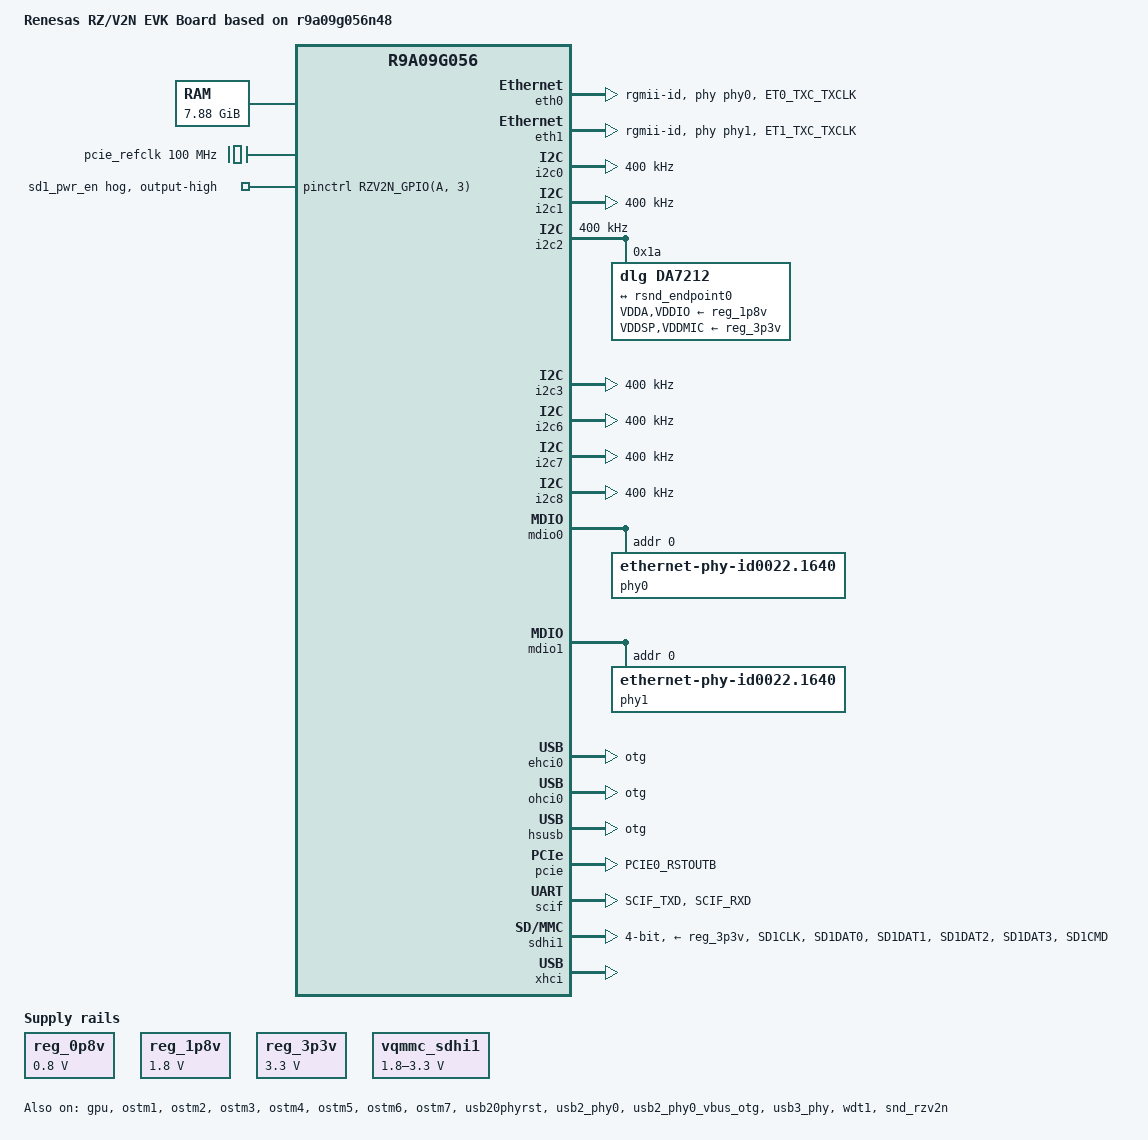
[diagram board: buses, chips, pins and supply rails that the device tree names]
// SPDX-License-Identifier: (GPL-2.0-only OR BSD-2-Clause)
/*
 * Device Tree Source for the RZ/V2N EVK board
 *
 * Copyright (C) 2025 Renesas Electronics Corp.
 */

/dts-v1/;

#include <dt-bindings/gpio/gpio.h>
#include "r9a09g056.dtsi"

/*
 * SSI-DA7212
 *
 * These commands are required when Playback/Capture
 *
 *	amixer -q cset name='Aux Switch' on
 *	amixer -q cset name='Mixin Left Aux Left Switch' on
 *	amixer -q cset name='Mixin Right Aux Right Switch' on
 *	amixer -q cset name='ADC Switch' on
 *	amixer -q cset name='Mixout Right Mixin Right Switch' off
 *	amixer -q cset name='Mixout Left Mixin Left Switch' off
 *	amixer -q cset name='Headphone Volume' 70%
 *	amixer -q cset name='Headphone Switch' on
 *	amixer -q cset name='Mixout Left DAC Left Switch' on
 *	amixer -q cset name='Mixout Right DAC Right Switch' on
 *	amixer -q cset name='DAC Left Source MUX' 'DAI Input Left'
 *	amixer -q cset name='DAC Right Source MUX' 'DAI Input Right'
 *	amixer -q sset 'Mic 1 Amp Source MUX' 'MIC_P'
 *	amixer -q sset 'Mic 2 Amp Source MUX' 'MIC_P'
 *	amixer -q sset 'Mixin Left Mic 1' on
 *	amixer -q sset 'Mixin Right Mic 2' on
 *	amixer -q sset 'Mic 1' 90% on
 *	amixer -q sset 'Mic 2' 90% on
 *	amixer -q sset 'Lineout' 80% on
 *	amixer -q set "Headphone" 100% on
 *
 * When Capture chained with DVC, use this command to amplify sound
 *	amixer set 'DVC In',0 80%
 * For playback, use: amixer set 'DVC Out',0 80%
 */

/ {
	model = "Renesas RZ/V2N EVK Board based on r9a09g056n48";
	compatible = "renesas,rzv2n-evk", "renesas,r9a09g056n48", "renesas,r9a09g056";

	aliases {
		ethernet0 = &eth0;
		ethernet1 = &eth1;
		i2c0 = &i2c0;
		i2c1 = &i2c1;
		i2c2 = &i2c2;
		i2c3 = &i2c3;
		i2c6 = &i2c6;
		i2c7 = &i2c7;
		i2c8 = &i2c8;
		mmc1 = &sdhi1;
		serial0 = &scif;
	};

	chosen {
		bootargs = "ignore_loglevel";
		stdout-path = "serial0:115200n8";
	};

	memory@48000000 {
		device_type = "memory";
		/* first 128MB is reserved for secure area. */
		reg = <0x0 0x48000000 0x1 0xf8000000>;
	};

	reserved-memory {
		#address-cells = <2>;
		#size-cells = <2>;
		ranges;

		global_cma: linux,cma@58000000 {
			compatible = "shared-dma-pool";
			linux,cma-default;
			reusable;
			reg = <0x0 0x58000000 0x0 0x28000000>;
		};
	};

	pcie_refclk: clock-pcie-ref {
		compatible = "fixed-clock";
		#clock-cells = <0>;
		clock-frequency = <100000000>;
	};

	reg_0p8v: regulator-0p8v {
		compatible = "regulator-fixed";
		regulator-name = "fixed-0.8V";
		regulator-min-microvolt = <800000>;
		regulator-max-microvolt = <800000>;
		regulator-boot-on;
		regulator-always-on;
	};

	reg_1p8v: regulator-1p8v {
		compatible = "regulator-fixed";
		regulator-name = "fixed-1.8V";
		regulator-min-microvolt = <1800000>;
		regulator-max-microvolt = <1800000>;
		regulator-boot-on;
		regulator-always-on;
	};

	reg_3p3v: regulator-3p3v {
		compatible = "regulator-fixed";
		regulator-name = "fixed-3.3V";
		regulator-min-microvolt = <3300000>;
		regulator-max-microvolt = <3300000>;
		regulator-boot-on;
		regulator-always-on;
	};

	vqmmc_sdhi1: regulator-vqmmc-sdhi1 {
		compatible = "regulator-gpio";
		regulator-name = "SDHI1 VqmmC";
		gpios = <&pinctrl RZV2N_GPIO(A, 2) GPIO_ACTIVE_HIGH>;
		regulator-min-microvolt = <1800000>;
		regulator-max-microvolt = <3300000>;
		gpios-states = <0>;
		states = <3300000 0>, <1800000 1>;
	};

	sound_card: sound {
		compatible = "audio-graph-card";

		label = "snd_rzv2n";

		dais = <
			&rsnd_port0     /* DA7212 */
			>;
	};
};

&audio_extal_clk {
	clock-frequency = <22579200>;
};

&audio_clkb {
	clock-frequency = <24576000>;
};

&audio_clkc {
	clock-frequency = <22579200>;
};

&eth0 {
	pinctrl-0 = <&eth0_pins>;
	pinctrl-names = "default";
	phy-handle = <&phy0>;
	phy-mode = "rgmii-id";
	status = "okay";
};

&eth1 {
	pinctrl-0 = <&eth1_pins>;
	pinctrl-names = "default";
	phy-handle = <&phy1>;
	phy-mode = "rgmii-id";
	status = "okay";
};

&gpu {
	status = "okay";
	mali-supply = <&reg_0p8v>;
};

&i2c0 {
	pinctrl-0 = <&i2c0_pins>;
	pinctrl-names = "default";
	clock-frequency = <400000>;
	status = "okay";
};

&i2c1 {
	pinctrl-0 = <&i2c1_pins>;
	pinctrl-names = "default";
	clock-frequency = <400000>;
	status = "okay";
};

&i2c2 {
	pinctrl-0 = <&i2c2_pins>;
	pinctrl-names = "default";
	clock-frequency = <400000>;
	status = "okay";

	da7212: codec@1a {
		compatible = "dlg,da7212";
		#sound-dai-cells = <0>;
		#address-cells = <1>;
		#size-cells = <0>;

		reg = <0x1a>;

		clocks = <&snd_rzv2n>;
		clock-names = "mclk";

		dlg,micbias1-lvl = <2500>;
		dlg,micbias2-lvl = <2500>;
		dlg,dmic-data-sel = "lrise_rfall";
		dlg,dmic-samplephase = "between_clkedge";
		dlg,dmic-clkrate = <3000000>;

		VDDA-supply = <&reg_1p8v>;
		VDDSP-supply = <&reg_3p3v>;
		VDDMIC-supply = <&reg_3p3v>;
		VDDIO-supply = <&reg_1p8v>;

		port {
			da7212_endpoint: endpoint {
				remote-endpoint = <&rsnd_endpoint0>;
			};
		};
	};
};

&i2c3 {
	pinctrl-0 = <&i2c3_pins>;
	pinctrl-names = "default";
	clock-frequency = <400000>;
	status = "okay";
};

&i2c6 {
	pinctrl-0 = <&i2c6_pins>;
	pinctrl-names = "default";
	clock-frequency = <400000>;
	status = "okay";
};

&i2c7 {
	pinctrl-0 = <&i2c7_pins>;
	pinctrl-names = "default";
	clock-frequency = <400000>;
	status = "okay";
};

&i2c8 {
	pinctrl-0 = <&i2c8_pins>;
	pinctrl-names = "default";
	clock-frequency = <400000>;
	status = "okay";
};

&mdio0 {
	phy0: ethernet-phy@0 {
		compatible = "ethernet-phy-id0022.1640", "ethernet-phy-ieee802.3-c22";
		reg = <0>;
		rxc-skew-psec = <0>;
		txc-skew-psec = <0>;
		rxdv-skew-psec = <0>;
		txdv-skew-psec = <0>;
		rxd0-skew-psec = <0>;
		rxd1-skew-psec = <0>;
		rxd2-skew-psec = <0>;
		rxd3-skew-psec = <0>;
		txd0-skew-psec = <0>;
		txd1-skew-psec = <0>;
		txd2-skew-psec = <0>;
		txd3-skew-psec = <0>;
	};
};

&mdio1 {
	phy1: ethernet-phy@1 {
		compatible = "ethernet-phy-id0022.1640", "ethernet-phy-ieee802.3-c22";
		reg = <0>;
		rxc-skew-psec = <0>;
		txc-skew-psec = <0>;
		rxdv-skew-psec = <0>;
		txdv-skew-psec = <0>;
		rxd0-skew-psec = <0>;
		rxd1-skew-psec = <0>;
		rxd2-skew-psec = <0>;
		rxd3-skew-psec = <0>;
		txd0-skew-psec = <0>;
		txd1-skew-psec = <0>;
		txd2-skew-psec = <0>;
		txd3-skew-psec = <0>;
	};
};

&ostm1 {
	status = "okay";
};

&ostm2 {
	status = "okay";
};

&ostm3 {
	status = "okay";
};

&ostm4 {
	status = "okay";
};

&ostm5 {
	status = "okay";
};

&ostm6 {
	status = "okay";
};

&ostm7 {
	status = "okay";
};

&ehci0 {
	memory-region = <&global_cma>;
	dr_mode = "otg";
	status = "okay";
};

&ohci0 {
	memory-region = <&global_cma>;
	dr_mode = "otg";
	status = "okay";
};

&hsusb {
	dr_mode = "otg";
	status = "okay";
};

&pcie {
	pinctrl-0 = <&pcie_pins>;
	pinctrl-names = "default";
	status = "okay";
};

&pcie_port0 {
	clocks = <&pcie_refclk>;
	clock-names = "ref";
};

&pinctrl {
	eth0_pins: eth0 {
		pins = "ET0_TXC_TXCLK";
		output-enable;
	};

	eth1_pins: eth1 {
		pins = "ET1_TXC_TXCLK";
		output-enable;
	};

	i2c0_pins: i2c0 {
		pinmux = <RZV2N_PORT_PINMUX(3, 0, 1)>, /* I2C0_SDA */
			 <RZV2N_PORT_PINMUX(3, 1, 1)>; /* I2C0_SCL */
	};

	i2c1_pins: i2c1 {
		pinmux = <RZV2N_PORT_PINMUX(3, 2, 1)>, /* I2C1_SDA */
			 <RZV2N_PORT_PINMUX(3, 3, 1)>; /* I2C1_SCL */
	};

	i2c2_pins: i2c2 {
		pinmux = <RZV2N_PORT_PINMUX(2, 0, 4)>, /* I2C2_SDA */
			 <RZV2N_PORT_PINMUX(2, 1, 4)>; /* I2C2_SCL */
	};

	i2c3_pins: i2c3 {
		pinmux = <RZV2N_PORT_PINMUX(3, 6, 1)>, /* I2C3_SDA */
			 <RZV2N_PORT_PINMUX(3, 7, 1)>; /* I2C3_SCL */
	};

	i2c6_pins: i2c6 {
		pinmux = <RZV2N_PORT_PINMUX(4, 4, 1)>, /* I2C6_SDA */
			 <RZV2N_PORT_PINMUX(4, 5, 1)>; /* I2C6_SCL */
		/* There are no pull-up resistors on the EVK, so enable the internal pull-up */
		bias-pull-up;
	};

	i2c7_pins: i2c7 {
		pinmux = <RZV2N_PORT_PINMUX(4, 6, 1)>, /* I2C7_SDA */
			 <RZV2N_PORT_PINMUX(4, 7, 1)>; /* I2C7_SCL */
		/* There are no pull-up resistors on the EVK, so enable the internal pull-up */
		bias-pull-up;
	};

	i2c8_pins: i2c8 {
		pinmux = <RZV2N_PORT_PINMUX(0, 6, 1)>, /* I2C8_SDA */
			 <RZV2N_PORT_PINMUX(0, 7, 1)>; /* I2C8_SCL */
	};

	pcie_pins: pcie {
		pins = "PCIE0_RSTOUTB";
		slew-rate = <0>;
		renesas,output-impedance = <2>;
	};

	scif_pins: scif {
		pins = "SCIF_TXD", "SCIF_RXD";
		renesas,output-impedance = <1>;
	};

	sd1-pwr-en-hog {
		gpio-hog;
		gpios = <RZV2N_GPIO(A, 3) GPIO_ACTIVE_HIGH>;
		output-high;
		line-name = "sd1_pwr_en";
	};

	sdhi1_pins: sd1 {
		sd1-cd {
			pinmux = <RZV2N_PORT_PINMUX(9, 4, 14)>; /* SD1_CD */
		};

		sd1-clk {
			pins = "SD1CLK";
			renesas,output-impedance = <3>;
			slew-rate = <0>;
		};

		sd1-dat-cmd {
			pins = "SD1DAT0", "SD1DAT1", "SD1DAT2", "SD1DAT3", "SD1CMD";
			input-enable;
			renesas,output-impedance = <3>;
			slew-rate = <0>;
		};
	};

	sound_pins: sound {
		pinmux = <RZV2N_PORT_PINMUX(1, 2, 7)>, /* SSI3_SCK */
			 <RZV2N_PORT_PINMUX(1, 3, 7)>, /* SSI3_WS */
			 <RZV2N_PORT_PINMUX(0, 4, 7)>, /* SSI3_SDATA */
			 <RZV2N_PORT_PINMUX(1, 5, 7)>; /* SSI4_SDATA */
	};

	sound_clk_pins: sound_clk {
		pinmux = <RZV2N_PORT_PINMUX(1, 0, 7)>, /* AUDIO_CLKB */
			 <RZV2N_PORT_PINMUX(1, 1, 7)>, /* AUDIO_CLKC */
			 <RZV2N_PORT_PINMUX(9, 7, 8)>; /* AUDIO_CLKOUT */
	};

	usb20_pins: usb20 {
		ovc {
			pinmux =  <RZV2N_PORT_PINMUX(9, 6, 14)>; /* OVC */
		};

		vbus {
			pinmux = <RZV2N_PORT_PINMUX(9, 5, 14)>; /* VBUS */
		};
	};

	usb3_pins: usb3 {
		pinmux = <RZV2N_PORT_PINMUX(B, 0, 14)>, /* USB30_VBUSEN */
			 <RZV2N_PORT_PINMUX(B, 1, 14)>; /* USB30_OVRCURN */
	};
};

&qextal_clk {
	clock-frequency = <24000000>;
};

&rtxin_clk {
	clock-frequency = <32768>;
};

&scif {
	pinctrl-0 = <&scif_pins>;
	pinctrl-names = "default";
	status = "okay";
};

&sdhi1 {
	pinctrl-0 = <&sdhi1_pins>;
	pinctrl-1 = <&sdhi1_pins>;
	pinctrl-names = "default", "state_uhs";
	vmmc-supply = <&reg_3p3v>;
	vqmmc-supply = <&vqmmc_sdhi1>;
	bus-width = <4>;
	sd-uhs-sdr50;
	sd-uhs-sdr104;
	status = "okay";
};

&usb20phyrst {
	status = "okay";
};

&usb2_phy0 {
	pinctrl-0 = <&usb20_pins>;
	pinctrl-names = "default";

	vbus-supply = <&usb2_phy0_vbus_otg>;
	status = "okay";
};

&usb2_phy0_vbus_otg {
	status = "okay";
};

&usb3_phy {
	status = "okay";
};

&xhci {
	pinctrl-0 = <&usb3_pins>;
	pinctrl-names = "default";
	memory-region = <&global_cma>;
	status = "okay";
};

&wdt1 {
	status = "okay";
};

&snd_rzv2n {
	pinctrl-0 = <&sound_clk_pins &sound_pins>;
	pinctrl-names = "default";

	status = "okay";

	/* audio_clkout provider */
	#clock-cells = <0>;
	clock-frequency = <11289600>;

	/* Multi DAI */
	#sound-dai-cells = <1>;

	ports {
		#address-cells = <1>;
		#size-cells = <0>;

		rsnd_port0: port@0 {
			rsnd_endpoint0: endpoint {
				remote-endpoint = <&da7212_endpoint>;

				dai-format = "i2s";
				bitclock-master = <&rsnd_endpoint0>;
				frame-master = <&rsnd_endpoint0>;
				mclk-fs = <256>;

				playback = <&ssi3>, <&src0>, <&dvc0>;
				capture = <&ssi4>, <&src1>, <&dvc1>;
			};
		};
	};
};

&ssi4 {
	shared-pin;
};
